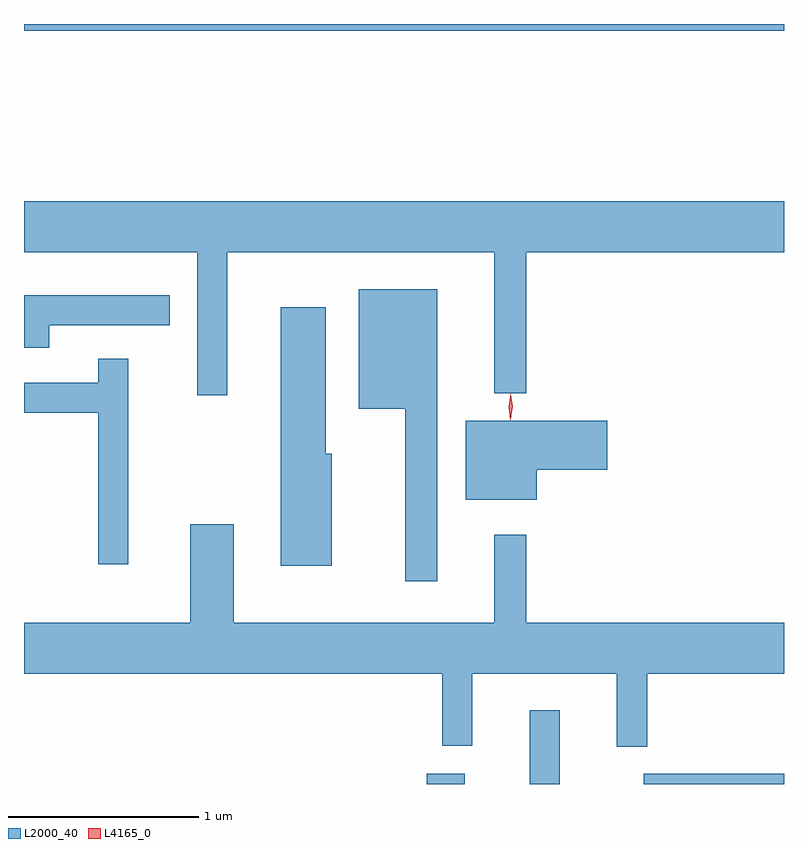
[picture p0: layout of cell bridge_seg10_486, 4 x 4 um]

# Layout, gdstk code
import gdstk
lib = gdstk.Library(unit=1e-6, precision=1e-09)
def R(c, l, rs):  # rectangles x0, y0, x1, y1
    for r in rs: c.add(gdstk.rectangle(r[:2], r[2:], *l))
def P(c, l, *ps):  # polygons
    for p in ps: c.add(gdstk.Polygon(p, *l))
L2000_40 = (2000, 40)
L4165_0 = (4165, 0)

bridge_seg10_486 = lib.new_cell('bridge_seg10_486')
R(bridge_seg10_486, L2000_40, [(921.246,2168.836,921.444,2168.889), (921.786,2168.836,921.944,2169.223), (922.386,2168.836,923.125,2168.889), (919.125,2172.801,923.125,2172.836)])
P(bridge_seg10_486, L2000_40, [(920.194,2171.636),(921.601,2171.636),(921.601,2170.893),(921.769,2170.893),(921.769,2171.636),(923.125,2171.636),(923.125,2171.904),(919.125,2171.904),(919.125,2171.636),(920.036,2171.636),(920.036,2170.883),(920.194,2170.883)],
  [(921.299,2171.439),(920.886,2171.439),(920.886,2170.811),(921.131,2170.811),(921.131,2169.903),(921.299,2169.903)],
  [(919.259,2171.251),(919.893,2171.251),(919.893,2171.409),(919.125,2171.409),(919.125,2171.131),(919.259,2171.131)],
  [(920.744,2170.574),(920.714,2170.574),(920.714,2171.344),(920.476,2171.344),(920.476,2169.986),(920.744,2169.986)],
  [(919.674,2171.073),(919.516,2171.073),(919.516,2170.949),(919.125,2170.949),(919.125,2170.791),(919.516,2170.791),(919.516,2169.993),(919.674,2169.993)],
  [(921.824,2170.491),(922.194,2170.491),(922.194,2170.749),(921.451,2170.749),(921.451,2170.331),(921.824,2170.331)],
  [(922.404,2169.416),(923.125,2169.416),(923.125,2169.684),(921.769,2169.684),(921.769,2170.148),(921.601,2170.148),(921.601,2169.684),(920.229,2169.684),(920.229,2170.204),(920.001,2170.204),(920.001,2169.684),(919.125,2169.684),(919.125,2169.416),(921.326,2169.416),(921.326,2169.038),(921.484,2169.038),(921.484,2169.416),(922.246,2169.416),(922.246,2169.033),(922.404,2169.033)])
P(bridge_seg10_486, L4165_0, [(921.685,2170.754),(921.685,2170.754),(921.676,2170.822),(921.686,2170.89),(921.687,2170.89),(921.687,2170.89),(921.696,2170.822),(921.686,2170.754)],
  [(921.687,2170.76),(921.687,2170.76),(921.677,2170.823),(921.686,2170.886),(921.687,2170.887),(921.687,2170.886),(921.697,2170.823),(921.688,2170.76)])

lib.write_gds('bridge_seg10_486.gds')
